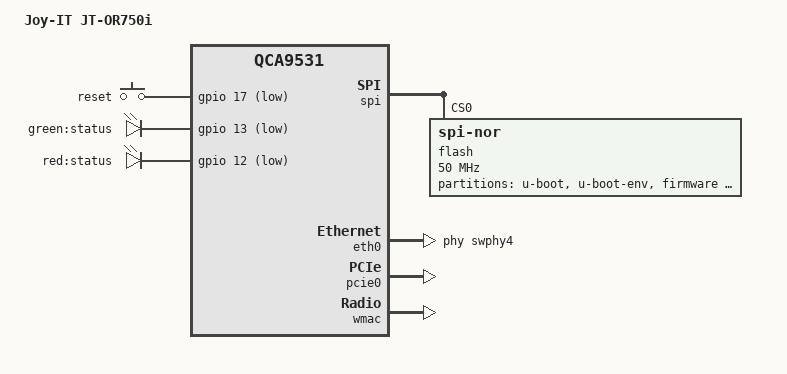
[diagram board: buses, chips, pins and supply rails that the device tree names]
// SPDX-License-Identifier: GPL-2.0-or-later OR MIT

#include "qca953x.dtsi"

#include <dt-bindings/gpio/gpio.h>
#include <dt-bindings/input/input.h>

/ {
	compatible = "joyit,jt-or750i", "qca,qca9531";
	model = "Joy-IT JT-OR750i";

	aliases {
		led-boot = &led_status_green;
		led-failsafe = &led_status_red;
		led-running = &led_status_green;
		led-upgrade = &led_status_red;
		label-mac-device = &eth0;
	};

	keys {
		compatible = "gpio-keys";

		reset {
			label = "reset";
			linux,code = <KEY_RESTART>;
			gpios = <&gpio 17 GPIO_ACTIVE_LOW>;
		};
	};

	leds {
		compatible = "gpio-leds";

		pinctrl-names = "default";
		pinctrl-0 = <&jtag_disable_pins &pinmux_led_eth_pins>;

		led_status_green: status_green {
			label = "green:status";
			gpios = <&gpio 13 GPIO_ACTIVE_LOW>;
			default-state = "on";
		};

		led_status_red: status_red {
			label = "red:status";
			gpios = <&gpio 12 GPIO_ACTIVE_LOW>;
		};
	};
};

&pinmux {
	pinmux_led_eth_pins: pinmux_led_eth_pins {
		pinctrl-single,bits = \
			/* GPIO 4: LED_LINK_5 (WAN) */     \
			<0x04 0x0000002d 0x000000ff>,      \
			/* GPIO 14: LED_LINK_2 (LAN 3) */  \
			/* GPIO 15: LED_LINK_3 (LAN 2) */  \
			<0x0c 0x2b2a0000 0xffff0000>,      \
			/* GPIO 16: LED_LINK_4 (LAN 1) */  \
			<0x10 0x0000002c 0x000000ff>;
	};
};

&spi {
	status = "okay";

	flash@0 {
		compatible = "jedec,spi-nor";
		reg = <0>;
		spi-max-frequency = <50000000>;

		partitions {
			compatible = "fixed-partitions";
			#address-cells = <1>;
			#size-cells = <1>;

			partition@0 {
				label = "u-boot";
				reg = <0x0 0x40000>;
				read-only;
			};

			partition@40000 {
				label = "u-boot-env";
				reg = <0x40000 0x10000>;
				read-only;
			};

			partition@50000 {
				label = "firmware";
				reg = <0x50000 0xfa0000>;
				compatible = "denx,uimage";
			};

			art: partition@ff0000 {
				label = "art";
				reg = <0xff0000 0x10000>;
				read-only;
			};
		};
	};
};

&eth0 {
	status = "okay";

	phy-handle = <&swphy4>;

	nvmem-cells = <&macaddr_art_0>;
	nvmem-cell-names = "mac-address";
};

&eth1 {
	nvmem-cells = <&macaddr_art_6>;
	nvmem-cell-names = "mac-address";
};

&pcie0 {
	status = "okay";
};

&wmac {
	status = "okay";

	mtd-cal-data = <&art 0x1000>;
};

&art {
	compatible = "nvmem-cells";
	#address-cells = <1>;
	#size-cells = <1>;

	macaddr_art_0: macaddr@0 {
		reg = <0x0 0x6>;
	};

	macaddr_art_6: macaddr@6 {
		reg = <0x6 0x6>;
	};
};
